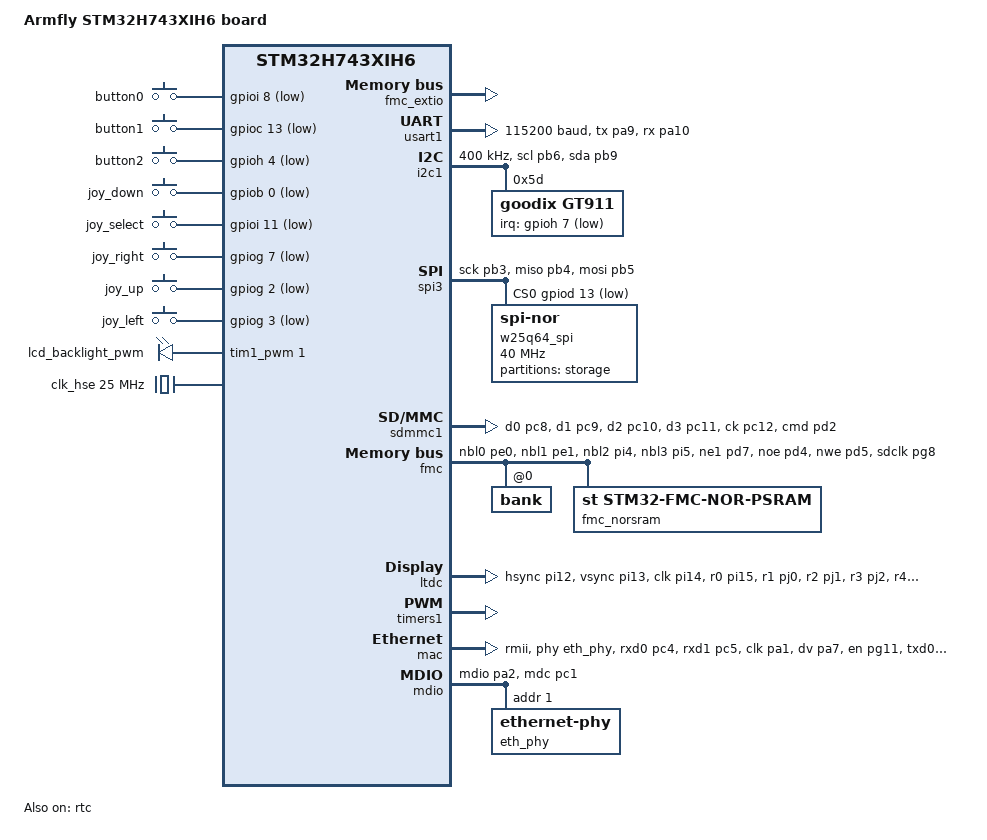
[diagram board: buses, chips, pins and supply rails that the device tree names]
/*
 * Copyright (c) 2026 Zhaoming Li
 *
 * SPDX-License-Identifier: Apache-2.0
 */

/dts-v1/;
#include <st/h7/stm32h743Xi.dtsi>
#include <st/h7/stm32h743xihx-pinctrl.dtsi>
#include <zephyr/dt-bindings/input/input-event-codes.h>
#include <zephyr/dt-bindings/memory-attr/memory-attr-arm.h>
#include <zephyr/dt-bindings/pwm/pwm.h>
#include <zephyr/dt-bindings/memory-controller/stm32-fmc-nor-psram.h>

/ {
	model = "Armfly STM32H743XIH6 board";
	compatible = "armfly,stm32h743xih6";

	chosen {
		zephyr,console = &usart1;
		zephyr,shell-uart = &usart1;
		zephyr,sram = &sram0;
		zephyr,flash = &flash0;
		zephyr,dtcm = &dtcm;
		zephyr,itcm = &itcm;
		zephyr,display = &ltdc;
		zephyr,touch = &gt911;
	};

	sdram1: sdram@c0000000 {
		compatible = "zephyr,memory-region", "mmio-sram";
		device_type = "memory";
		reg = <0xc0000000 DT_SIZE_M(32)>;
		zephyr,memory-region = "SDRAM1";
	};

	fmc_extio: memory@60000000 {
		compatible = "zephyr,memory-region";
		reg = <0x60000000 DT_SIZE_K(64)>;
		zephyr,memory-region = "FMC_EXTIO";
		zephyr,memory-attr = <DT_MEM_ARM(ATTR_MPU_IO)>;
	};

	latch_gpio: gpio@60001000 {
		compatible = "gpio-mmio-latch";
		reg = <0x60001000 0x4>;
		gpio-controller;
		#gpio-cells = <2>;
		ngpios = <32>;
		initial-output = <0x00000f14>;
		status = "disabled";
	};

	leds: leds {
		compatible = "gpio-leds";
		status = "disabled";

		led0: led_0 {
			gpios = <&latch_gpio 8 GPIO_ACTIVE_LOW>;
			label = "LED0";
		};

		led1: led_1 {
			gpios = <&latch_gpio 9 GPIO_ACTIVE_LOW>;
			label = "LED1";
		};

		led2: led_2 {
			gpios = <&latch_gpio 10 GPIO_ACTIVE_LOW>;
			label = "LED2";
		};

		led3: led_3 {
			gpios = <&latch_gpio 11 GPIO_ACTIVE_LOW>;
			label = "LED3";
		};
	};

	buttons {
		compatible = "gpio-keys";
		polling-mode;

		button0: button_0 {
			gpios = <&gpioi 8 GPIO_ACTIVE_LOW>;
			zephyr,code = <INPUT_KEY_0>;
		};

		button1: button_1 {
			gpios = <&gpioc 13 GPIO_ACTIVE_LOW>;
			zephyr,code = <INPUT_KEY_1>;
		};

		button2: button_2 {
			gpios = <&gpioh 4 GPIO_ACTIVE_LOW>;
			zephyr,code = <INPUT_KEY_2>;
		};

		joy_down: joy-down {
			gpios = <&gpiob 0 GPIO_ACTIVE_LOW>;
			zephyr,code = <INPUT_KEY_DOWN>;
		};

		joy_select: joy-select {
			gpios = <&gpioi 11 GPIO_ACTIVE_LOW>;
			zephyr,code = <INPUT_KEY_ENTER>;
		};

		joy_right: joy-right {
			gpios = <&gpiog 7 GPIO_ACTIVE_LOW>;
			zephyr,code = <INPUT_KEY_RIGHT>;
		};

		joy_up: joy-up {
			gpios = <&gpiog 2 GPIO_ACTIVE_LOW>;
			zephyr,code = <INPUT_KEY_UP>;
		};

		joy_left: joy-left {
			gpios = <&gpiog 3 GPIO_ACTIVE_LOW>;
			zephyr,code = <INPUT_KEY_LEFT>;
		};
	};

	aliases {
		sw0 = &button0;
		sw1 = &button1;
		sw2 = &button2;
		sw3 = &joy_select;
		sw4 = &joy_down;
		sw5 = &joy_right;
		sw6 = &joy_up;
		sw7 = &joy_left;
		backlight-pwm = &lcd_bl_pwm;
	};

	backlight_pwm: backlight {
		compatible = "pwm-leds";

		lcd_bl_pwm: bl0 {
			pwms = <&tim1_pwm 1 PWM_USEC(20000) PWM_POLARITY_NORMAL>;
			label = "lcd_backlight_pwm";
		};
	};
};

&clk_lsi {
	status = "okay";
};

&clk_hsi48 {
	status = "okay";
};

&clk_hse {
	clock-frequency = <DT_FREQ_M(25)>;
	status = "okay";
};

&pll {
	div-m = <5>;
	mul-n = <160>;
	div-p = <2>;
	div-q = <4>;
	div-r = <2>;
	clocks = <&clk_hse>;
	status = "okay";
};

&pll2 {
	div-m = <5>;
	mul-n = <96>;
	div-p = <2>;
	div-q = <4>;
	div-r = <10>;
	clocks = <&clk_hse>;
	status = "okay";
};

&pll3 {
	div-m = <5>;
	mul-n = <48>;
	div-p = <2>;
	div-q = <5>;
	div-r = <10>;
	clocks = <&clk_hse>;
	status = "okay";
};

&rcc {
	clocks = <&pll>;
	clock-frequency = <DT_FREQ_M(400)>;
	d1cpre = <1>;
	hpre = <2>;
	d1ppre = <2>;
	d2ppre1 = <2>;
	d2ppre2 = <2>;
	d3ppre = <2>;
};

&pwr {
	power-supply = "ldo";
};

&usart1 {
	pinctrl-0 = <&usart1_tx_pa9 &usart1_rx_pa10>;
	pinctrl-names = "default";
	current-speed = <115200>;
	status = "okay";
};

&rtc {
	clocks = <&rcc STM32_CLOCK(APB1, 28)>,
		 <&rcc STM32_SRC_LSI RTC_SEL(2)>;
	status = "okay";
};

&i2c1 {
	pinctrl-0 = <&i2c1_scl_pb6 &i2c1_sda_pb9>;
	pinctrl-names = "default";
	status = "okay";
	clock-frequency = <I2C_BITRATE_FAST>;

	gt911: gt911@5d {
		compatible = "goodix,gt911";
		reg = <0x5d>;
		irq-gpios = <&gpioh 7 (GPIO_ACTIVE_LOW | GPIO_PULL_UP)>;
		alt-addr = <0x14>;
	};
};

&spi3 {
	pinctrl-0 = <&spi3_sck_pb3 &spi3_miso_pb4 &spi3_mosi_pb5>;
	cs-gpios = <&gpiod 13 GPIO_ACTIVE_LOW>;
	pinctrl-names = "default";
	status = "okay";

	w25q64_spi: spi-nor-flash@0 {
		compatible = "jedec,spi-nor";
		reg = <0>;
		spi-max-frequency = <40000000>;
		size = <DT_SIZE_M(64)>; /* 64 Mbits */
		status = "okay";
		jedec-id = [ef 40 17];
		has-dpd;
		t-enter-dpd = <3500>;
		t-exit-dpd = <3500>;

		partitions {
			compatible = "fixed-partitions";
			#address-cells = <1>;
			#size-cells = <1>;

			storage_partition: partition@0 {
				label = "storage";
				reg = <0x00000000 DT_SIZE_M(8)>;
			};
		};
	};
};

&sdmmc1 {
	status = "okay";
	pinctrl-0 = <&sdmmc1_d0_pc8
		     &sdmmc1_d1_pc9
		     &sdmmc1_d2_pc10
		     &sdmmc1_d3_pc11
		     &sdmmc1_ck_pc12
		     &sdmmc1_cmd_pd2>;
	pinctrl-names = "default";
	cd-gpios = <&gpiog 12 GPIO_ACTIVE_LOW>;
	disk-name = "SD";
	clocks = <&rcc STM32_CLOCK(AHB3, 16)>,
		 <&rcc STM32_SRC_PLL2_R SDMMC_SEL(1)>;
};

&fmc {
	status = "okay";

	pinctrl-0 = <&fmc_nbl0_pe0 &fmc_nbl1_pe1
		     &fmc_nbl2_pi4 &fmc_nbl3_pi5
		     &fmc_ne1_pd7
		     &fmc_noe_pd4
		     &fmc_nwe_pd5
		     &fmc_sdclk_pg8
		     &fmc_sdcke0_ph2 &fmc_sdne0_ph3 &fmc_sdnwe_ph5
		     &fmc_sdnras_pf11 &fmc_sdncas_pg15
		     &fmc_a0_pf0 &fmc_a1_pf1 &fmc_a2_pf2 &fmc_a3_pf3
		     &fmc_a4_pf4 &fmc_a5_pf5 &fmc_a6_pf12 &fmc_a7_pf13
		     &fmc_a8_pf14 &fmc_a9_pf15 &fmc_a10_pg0 &fmc_a11_pg1
		     &fmc_a14_pg4 &fmc_a15_pg5 &fmc_a16_pd11 &fmc_a17_pd12
		     &fmc_d0_pd14 &fmc_d1_pd15 &fmc_d2_pd0 &fmc_d3_pd1
		     &fmc_d4_pe7 &fmc_d5_pe8 &fmc_d6_pe9 &fmc_d7_pe10
		     &fmc_d8_pe11 &fmc_d9_pe12 &fmc_d10_pe13 &fmc_d11_pe14
		     &fmc_d12_pe15 &fmc_d13_pd8 &fmc_d14_pd9 &fmc_d15_pd10
		     &fmc_d16_ph8 &fmc_d17_ph9 &fmc_d18_ph10 &fmc_d19_ph11
		     &fmc_d20_ph12 &fmc_d21_ph13 &fmc_d22_ph14 &fmc_d23_ph15
		     &fmc_d24_pi0 &fmc_d25_pi1 &fmc_d26_pi2 &fmc_d27_pi3
		     &fmc_d28_pi6 &fmc_d29_pi7 &fmc_d30_pi9 &fmc_d31_pi10>;
	pinctrl-names = "default";

	sdram {
		status = "okay";
		power-up-delay = <100>;
		num-auto-refresh = <8>;
		mode-register = <0x230>;
		refresh-rate = <1543>;

		bank@0 {
			reg = <0>;

			st,sdram-control = <STM32_FMC_SDRAM_NC_9
					    STM32_FMC_SDRAM_NR_12
					    STM32_FMC_SDRAM_MWID_32
					    STM32_FMC_SDRAM_NB_4
					    STM32_FMC_SDRAM_CAS_3
					    STM32_FMC_SDRAM_SDCLK_PERIOD_2
					    STM32_FMC_SDRAM_RBURST_ENABLE
					    STM32_FMC_SDRAM_RPIPE_0>;

			st,sdram-timing = <2 7 4 7 2 2 2>;
		};
	};

	fmc_norsram: sram {
		status = "okay";
		compatible = "st,stm32-fmc-nor-psram";
		#address-cells = <1>;
		#size-cells = <0>;

		sram1@0 {
			reg = <STM32_FMC_NORSRAM_BANK1>;

			st,control = <STM32_FMC_DATA_ADDRESS_MUX_DISABLE
				      STM32_FMC_MEMORY_TYPE_SRAM
				      STM32_FMC_NORSRAM_MEM_BUS_WIDTH_32
				      STM32_FMC_BURST_ACCESS_MODE_DISABLE
				      STM32_FMC_WAIT_SIGNAL_POLARITY_LOW
				      STM32_FMC_WAIT_TIMING_BEFORE_WS
				      STM32_FMC_WRITE_OPERATION_ENABLE
				      STM32_FMC_WAIT_SIGNAL_DISABLE
				      STM32_FMC_EXTENDED_MODE_DISABLE
				      STM32_FMC_ASYNCHRONOUS_WAIT_DISABLE
				      STM32_FMC_WRITE_BURST_DISABLE
				      STM32_FMC_CONTINUOUS_CLOCK_SYNC_ONLY
				      STM32_FMC_WRITE_FIFO_ENABLE
				      STM32_FMC_PAGE_SIZE_NONE>;

			st,timing = <5 2 2 1 2 2 STM32_FMC_ACCESS_MODE_A>;
		};
	};
};

&ltdc {
	pinctrl-0 = <&ltdc_hsync_pi12 &ltdc_vsync_pi13 &ltdc_clk_pi14 &ltdc_r0_pi15
		     &ltdc_r1_pj0 &ltdc_r2_pj1 &ltdc_r3_pj2 &ltdc_r4_pj3
		     &ltdc_r5_pj4 &ltdc_r6_pj5 &ltdc_r7_pj6 &ltdc_g0_pj7
		     &ltdc_g1_pj8 &ltdc_g2_pj9 &ltdc_g3_pj10 &ltdc_g4_pj11
		     &ltdc_b0_pj12 &ltdc_b1_pj13 &ltdc_b2_pj14 &ltdc_b3_pj15
		     &ltdc_g5_pk0 &ltdc_g6_pk1 &ltdc_g7_pk2 &ltdc_b4_pk3
		     &ltdc_b5_pk4 &ltdc_b6_pk5 &ltdc_b7_pk6 &ltdc_de_pk7>;
	pinctrl-names = "default";
	clocks = <&rcc STM32_CLOCK(APB3, 3)>,
		 <&rcc STM32_SRC_PLL3_R NO_SEL>;
	ext-sdram = <&sdram1>;
	status = "okay";

	width = <800>;
	height = <480>;
	pixel-format = <PANEL_PIXEL_FORMAT_RGB_888>;

	display-timings {
		compatible = "zephyr,panel-timing";

		de-active = <0>;
		pixelclk-active = <0>;
		hsync-active = <0>;
		vsync-active = <0>;

		hsync-len = <96>;
		hback-porch = <10>;
		hfront-porch = <10>;

		vsync-len = <2>;
		vback-porch = <10>;
		vfront-porch = <10>;
	};

	def-back-color-red = <0x00>;
	def-back-color-green = <0x00>;
	def-back-color-blue = <0x00>;
};

&timers1 {
	status = "okay";

	tim1_pwm: pwm {
		compatible = "st,stm32-pwm";
		status = "okay";
		pinctrl-0 = <&tim1_ch1_pa8>;
		pinctrl-names = "default";
	};
};

&mac {
	status = "okay";
	phy-connection-type = "rmii";
	phy-handle = <&eth_phy>;
	pinctrl-names = "default";
	pinctrl-0 = <&eth_rxd0_pc4
		     &eth_rxd1_pc5
		     &eth_ref_clk_pa1
		     &eth_crs_dv_pa7
		     &eth_tx_en_pg11
		     &eth_txd0_pg13
		     &eth_txd1_pb13>;
};

&mdio {
	status = "okay";
	pinctrl-names = "default";
	pinctrl-0 = <&eth_mdio_pa2 &eth_mdc_pc1>;

	eth_phy: ethernet-phy@1 {
		compatible = "ethernet-phy";
		reg = <1>;
	};
};

&ltdc_hsync_pi12 {
	slew-rate = "very-high-speed";
};

&ltdc_vsync_pi13 {
	slew-rate = "very-high-speed";
};

&ltdc_clk_pi14 {
	slew-rate = "very-high-speed";
};

&ltdc_r0_pi15 {
	slew-rate = "very-high-speed";
};

&ltdc_r1_pj0 {
	slew-rate = "very-high-speed";
};

&ltdc_r2_pj1 {
	slew-rate = "very-high-speed";
};

&ltdc_r3_pj2 {
	slew-rate = "very-high-speed";
};

&ltdc_r4_pj3 {
	slew-rate = "very-high-speed";
};

&ltdc_r5_pj4 {
	slew-rate = "very-high-speed";
};

&ltdc_r6_pj5 {
	slew-rate = "very-high-speed";
};

&ltdc_r7_pj6 {
	slew-rate = "very-high-speed";
};

&ltdc_g0_pj7 {
	slew-rate = "very-high-speed";
};

&ltdc_g1_pj8 {
	slew-rate = "very-high-speed";
};

&ltdc_g2_pj9 {
	slew-rate = "very-high-speed";
};

&ltdc_g3_pj10 {
	slew-rate = "very-high-speed";
};

&ltdc_g4_pj11 {
	slew-rate = "very-high-speed";
};

&ltdc_g5_pk0 {
	slew-rate = "very-high-speed";
};

&ltdc_g6_pk1 {
	slew-rate = "very-high-speed";
};

&ltdc_g7_pk2 {
	slew-rate = "very-high-speed";
};

&ltdc_b0_pj12 {
	slew-rate = "very-high-speed";
};

&ltdc_b1_pj13 {
	slew-rate = "very-high-speed";
};

&ltdc_b2_pj14 {
	slew-rate = "very-high-speed";
};

&ltdc_b3_pj15 {
	slew-rate = "very-high-speed";
};

&ltdc_b4_pk3 {
	slew-rate = "very-high-speed";
};

&ltdc_b5_pk4 {
	slew-rate = "very-high-speed";
};

&ltdc_b6_pk5 {
	slew-rate = "very-high-speed";
};

&ltdc_b7_pk6 {
	slew-rate = "very-high-speed";
};

&ltdc_de_pk7 {
	slew-rate = "very-high-speed";
};
